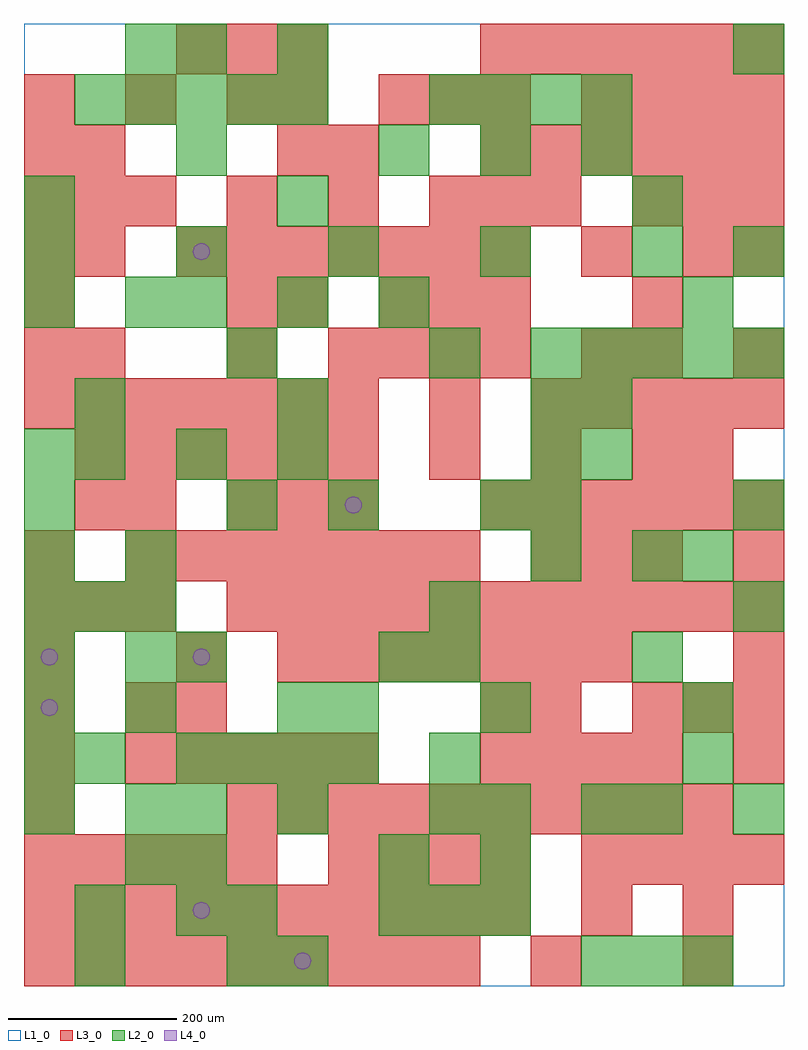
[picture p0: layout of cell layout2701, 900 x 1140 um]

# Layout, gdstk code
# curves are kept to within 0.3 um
import gdstk
lib = gdstk.Library(unit=1e-6, precision=1e-09)
def R(c, l, rs):  # rectangles x0, y0, x1, y1
    for r in rs: c.add(gdstk.rectangle(r[:2], r[2:], *l))
def A(c, l, x, y, w, h, nx, ny, dx, dy):  # array of equal rectangles
    R(c, l, [(x+i*dx, y+j*dy, x+i*dx+w, y+j*dy+h) for i in range(nx) for j in range(ny)])
def P(c, l, *ps):  # polygons
    for p in ps: c.add(gdstk.Polygon(p, *l))
L1_0 = (1, 0)
L2_0 = (2, 0)
L3_0 = (3, 0)
L4_0 = (4, 0)

layout2701 = lib.new_cell('layout2701')
R(layout2701, L1_0, [(0,0,900,1140)])
A(layout2701, L2_0, 660, 0, 60, 60, 3, 1, 60, 0)
A(layout2701, L2_0, 180, 60, 60, 60, 1, 3, 0, 60)
A(layout2701, L2_0, 420, 60, 60, 60, 3, 1, 60, 0)
A(layout2701, L2_0, 0, 180, 60, 60, 1, 4, 0, 60)
A(layout2701, L2_0, 180, 240, 60, 60, 4, 1, 60, 0)
A(layout2701, L2_0, 0, 420, 60, 60, 3, 1, 60, 0)
A(layout2701, L2_0, 0, 480, 60, 60, 1, 3, 0, 60)
A(layout2701, L2_0, 120, 480, 60, 60, 1, 3, 0, 300)
A(layout2701, L2_0, 600, 480, 60, 60, 1, 4, 0, 60)
A(layout2701, L2_0, 60, 600, 60, 60, 3, 1, 120, 0)
A(layout2701, L2_0, 600, 720, 60, 60, 5, 1, 60, 0)
A(layout2701, L2_0, 180, 780, 60, 60, 3, 1, 120, 0)
A(layout2701, L2_0, 0, 840, 60, 60, 5, 1, 180, 0)
A(layout2701, L2_0, 420, 960, 60, 60, 3, 1, 120, 0)
A(layout2701, L2_0, 60, 1020, 60, 60, 5, 1, 60, 0)
A(layout2701, L2_0, 480, 1020, 60, 60, 4, 1, 60, 0)
R(layout2701, L2_0, [(60,0,120,60), (240,0,300,60), (300,0,360,60), (60,60,120,120), (240,60,300,120), (120,120,180,180), (420,120,480,180), (540,120,600,180), (120,180,180,240), (300,180,360,240), (480,180,540,240), (540,180,600,240), (660,180,720,240), (720,180,780,240), (840,180,900,240), (60,240,120,300), (480,240,540,300), (780,240,840,300), (120,300,180,360), (300,300,360,360), (360,300,420,360), (540,300,600,360), (780,300,840,360), (120,360,180,420), (180,360,240,420), (420,360,480,420), (480,360,540,420), (720,360,780,420), (480,420,540,480), (840,420,900,480), (720,480,780,540), (780,480,840,540), (240,540,300,600), (360,540,420,600), (540,540,600,600), (840,540,900,600), (660,600,720,660), (60,660,120,720), (300,660,360,720), (660,660,720,720), (240,720,300,780), (480,720,540,780), (0,780,60,840), (780,780,840,840), (840,840,900,900), (0,900,60,960), (300,900,360,960), (720,900,780,960), (180,960,240,1020), (180,1080,240,1140), (300,1080,360,1140), (840,1080,900,1140)])
A(layout2701, L3_0, 0, 0, 60, 60, 9, 1, 60, 0)
A(layout2701, L3_0, 0, 60, 60, 60, 10, 1, 60, 0)
A(layout2701, L3_0, 0, 120, 60, 60, 5, 1, 60, 0)
A(layout2701, L3_0, 360, 120, 60, 60, 4, 2, 60, 600)
A(layout2701, L3_0, 660, 120, 60, 60, 4, 2, 60, 900)
A(layout2701, L3_0, 0, 180, 60, 60, 1, 4, 0, 60)
A(layout2701, L3_0, 240, 180, 60, 60, 10, 1, 60, 0)
A(layout2701, L3_0, 120, 240, 60, 60, 5, 1, 60, 0)
A(layout2701, L3_0, 540, 240, 60, 60, 4, 1, 60, 0)
A(layout2701, L3_0, 840, 240, 60, 60, 1, 3, 0, 120)
A(layout2701, L3_0, 720, 300, 60, 60, 3, 2, 60, 600)
A(layout2701, L3_0, 300, 360, 60, 60, 7, 1, 60, 0)
A(layout2701, L3_0, 0, 420, 60, 60, 3, 2, 60, 480)
A(layout2701, L3_0, 240, 420, 60, 60, 11, 1, 60, 0)
A(layout2701, L3_0, 120, 480, 60, 60, 7, 1, 60, 0)
A(layout2701, L3_0, 600, 480, 60, 60, 3, 1, 60, 0)
A(layout2701, L3_0, 240, 540, 60, 60, 3, 1, 60, 0)
A(layout2701, L3_0, 540, 540, 60, 60, 6, 2, 60, 420)
A(layout2701, L3_0, 60, 600, 60, 60, 6, 1, 60, 0)
A(layout2701, L3_0, 480, 600, 60, 60, 3, 1, 120, 0)
A(layout2701, L3_0, 0, 660, 60, 60, 7, 1, 60, 0)
A(layout2701, L3_0, 600, 660, 60, 60, 5, 1, 60, 0)
A(layout2701, L3_0, 0, 720, 60, 60, 1, 3, 0, 60)
A(layout2701, L3_0, 60, 720, 60, 60, 1, 3, 0, 120)
A(layout2701, L3_0, 420, 780, 60, 60, 3, 2, 60, 240)
A(layout2701, L3_0, 180, 840, 60, 60, 7, 1, 60, 0)
A(layout2701, L3_0, 240, 900, 60, 60, 3, 1, 120, 0)
A(layout2701, L3_0, 0, 1020, 60, 60, 3, 1, 120, 0)
A(layout2701, L3_0, 180, 1080, 60, 60, 3, 1, 60, 0)
A(layout2701, L3_0, 540, 1080, 60, 60, 6, 1, 60, 0)
R(layout2701, L3_0, [(600,0,660,60), (780,0,840,60), (660,60,720,120), (780,60,840,120), (120,300,180,360), (180,300,240,360), (540,300,600,360), (600,300,660,360), (180,360,240,420), (0,480,60,540), (60,540,120,600), (120,540,180,600), (780,600,840,660), (480,660,540,720), (240,720,300,780), (660,720,720,780), (720,720,780,780), (840,720,900,780), (240,780,300,840), (300,780,360,840), (720,780,780,840), (660,840,720,900), (780,840,840,900), (840,840,900,900), (540,900,600,960), (600,900,660,960), (0,960,60,1020), (300,960,360,1020), (360,960,420,1020), (300,1020,360,1080)])
P(layout2701, L4_0, [(40,330),(39.239,333.827),(37.071,337.071),(33.827,339.239),(30,340),(26.173,339.239),(22.929,337.071),(20.761,333.827),(20,330),(20.761,326.173),(22.929,322.929),(26.173,320.761),(30,320),(33.827,320.761),(37.071,322.929),(39.239,326.173)],
  [(40,390),(39.239,393.827),(37.071,397.071),(33.827,399.239),(30,400),(26.173,399.239),(22.929,397.071),(20.761,393.827),(20,390),(20.761,386.173),(22.929,382.929),(26.173,380.761),(30,380),(33.827,380.761),(37.071,382.929),(39.239,386.173)],
  [(220,90),(219.239,93.827),(217.071,97.071),(213.827,99.239),(210,100),(206.173,99.239),(202.929,97.071),(200.761,93.827),(200,90),(200.761,86.173),(202.929,82.929),(206.173,80.761),(210,80),(213.827,80.761),(217.071,82.929),(219.239,86.173)],
  [(220,390),(219.239,393.827),(217.071,397.071),(213.827,399.239),(210,400),(206.173,399.239),(202.929,397.071),(200.761,393.827),(200,390),(200.761,386.173),(202.929,382.929),(206.173,380.761),(210,380),(213.827,380.761),(217.071,382.929),(219.239,386.173)],
  [(220,870),(219.239,873.827),(217.071,877.071),(213.827,879.239),(210,880),(206.173,879.239),(202.929,877.071),(200.761,873.827),(200,870),(200.761,866.173),(202.929,862.929),(206.173,860.761),(210,860),(213.827,860.761),(217.071,862.929),(219.239,866.173)],
  [(340,30),(339.239,33.827),(337.071,37.071),(333.827,39.239),(330,40),(326.173,39.239),(322.929,37.071),(320.761,33.827),(320,30),(320.761,26.173),(322.929,22.929),(326.173,20.761),(330,20),(333.827,20.761),(337.071,22.929),(339.239,26.173)],
  [(400,570),(399.239,573.827),(397.071,577.071),(393.827,579.239),(390,580),(386.173,579.239),(382.929,577.071),(380.761,573.827),(380,570),(380.761,566.173),(382.929,562.929),(386.173,560.761),(390,560),(393.827,560.761),(397.071,562.929),(399.239,566.173)])

lib.write_gds('layout2701.gds')
